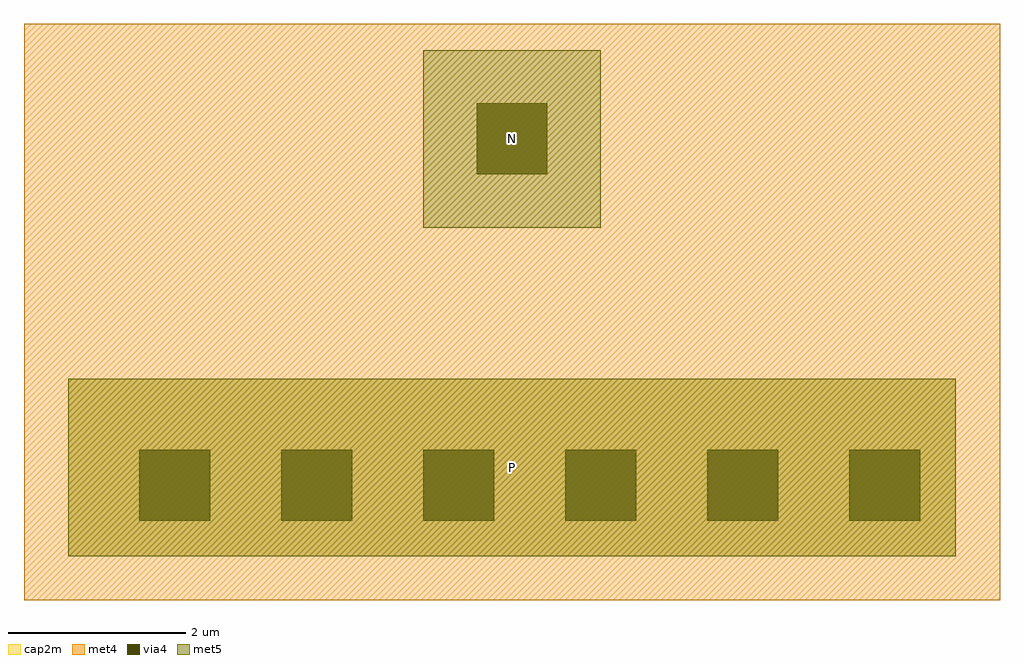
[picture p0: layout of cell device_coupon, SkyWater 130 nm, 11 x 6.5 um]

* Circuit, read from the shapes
.subckt device_coupon N P
XC1 P N sky130_fd_pr__cap_mim_m3_2 w=10 l=2
.ends

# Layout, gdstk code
import gdstk
lib = gdstk.Library(unit=1e-6, precision=1e-09)
def R(c, l, rs):  # rectangles x0, y0, x1, y1
    for r in rs: c.add(gdstk.rectangle(r[:2], r[2:], *l))
def A(c, l, x, y, w, h, nx, ny, dx, dy):  # array of equal rectangles
    R(c, l, [(x+i*dx, y+j*dy, x+i*dx+w, y+j*dy+h) for i in range(nx) for j in range(ny)])
met4 = (71, 20)
via4 = (71, 44)
met5 = (72, 20)
cap2m = (97, 44)

device_coupon = lib.new_cell('device_coupon')
R(device_coupon, met4, [(-10.5,-0.5,0.5,6)])
A(device_coupon, via4, -9.2, 0.4, 0.8, 0.8, 6, 1, 1.6, 0)
R(device_coupon, via4, [(-5.4,4.3,-4.6,5.1)])
R(device_coupon, met5, [(-10,0,0,2), (-6,3.7,-4,5.7)])
R(device_coupon, cap2m, [(-10,0,0,2)])
device_coupon.add(gdstk.Label('N', (-5,4.7), layer=72, texttype=5))
device_coupon.add(gdstk.Label('P', (-5,1), layer=72, texttype=5))

lib.write_gds('device_coupon.gds')
